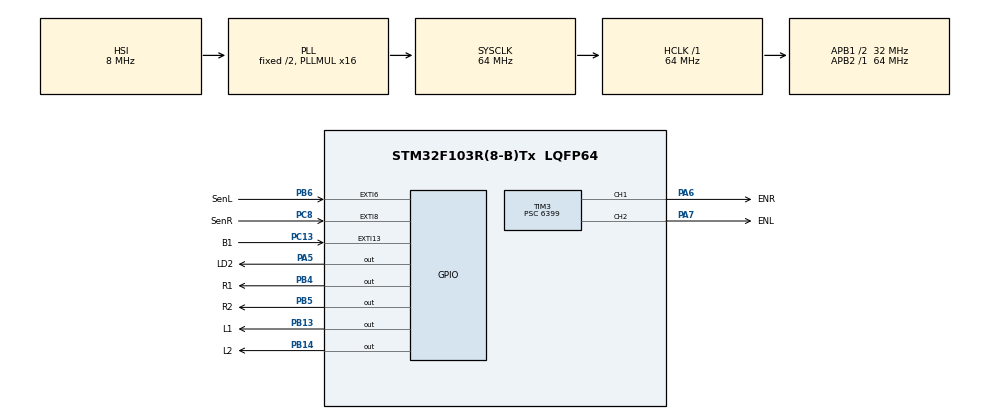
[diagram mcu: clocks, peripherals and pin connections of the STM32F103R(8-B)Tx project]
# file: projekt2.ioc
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Mcu.Family=STM32F1
Mcu.Name=STM32F103R(8-B)Tx
Mcu.Package=LQFP64
NVIC.EXTI15_10_IRQn=true\:9\:0\:true\:false\:true\:true\:true
NVIC.EXTI9_5_IRQn=true\:12\:0\:true\:false\:true\:true\:true
NVIC.PriorityGroup=NVIC_PRIORITYGROUP_4
NVIC.TIM3_IRQn=true\:10\:0\:true\:false\:true\:true\:true
PA5.GPIO_Label=LD2
PA5.Signal=GPIO_Output
PA6.GPIO_Label=ENR
PA6.Signal=S_TIM3_CH1
PA7.GPIO_Label=ENL
PA7.Signal=S_TIM3_CH2
PB13.GPIO_Label=L1
PB13.Signal=GPIO_Output
PB14.GPIO_Label=L2
PB14.Signal=GPIO_Output
PB4.GPIO_Label=R1
PB4.Signal=GPIO_Output
PB5.GPIO_Label=R2
PB5.Signal=GPIO_Output
PB6.GPIO_Label=SenL
PB6.GPIO_ModeDefaultEXTI=GPIO_MODE_IT_RISING_FALLING
PB6.Signal=GPXTI6
PC13-TAMPER-RTC.GPIO_Label=B1
PC13-TAMPER-RTC.Signal=GPXTI13
PC8.GPIO_Label=SenR
PC8.GPIO_ModeDefaultEXTI=GPIO_MODE_IT_RISING_FALLING
PC8.Signal=GPXTI8
ProjectManager.HeapSize=0x200
ProjectManager.StackSize=0x400
ProjectManager.TargetToolchain=STM32CubeIDE
RCC.AHBFreq_Value=64000000
RCC.APB1CLKDivider=RCC_HCLK_DIV2
RCC.APB1Freq_Value=32000000
RCC.APB1TimFreq_Value=64000000
RCC.APB2Freq_Value=64000000
RCC.APB2TimFreq_Value=64000000
RCC.HCLKFreq_Value=64000000
RCC.PLLMUL=RCC_PLL_MUL16
RCC.RTCClockSelection=RCC_RTCCLKSOURCE_LSE
RCC.SYSCLKFreq_VALUE=64000000
RCC.SYSCLKSource=RCC_SYSCLKSOURCE_PLLCLK
RCC.USBFreq_Value=64000000
SH.S_TIM3_CH1.0=TIM3_CH1,PWM Generation1 CH1
SH.S_TIM3_CH2.0=TIM3_CH2,PWM Generation2 CH2
TIM3.Channel-PWM\ Generation1\ CH1=TIM_CHANNEL_1
TIM3.Channel-PWM\ Generation2\ CH2=TIM_CHANNEL_2
TIM3.Period=99
TIM3.Prescaler=6399
TIM3.Pulse-PWM\ Generation1\ CH1=100
TIM3.Pulse-PWM\ Generation2\ CH2=100
VP_SYS_VS_ND.Mode=No_Debug
VP_TIM3_VS_ClockSourceINT.Mode=Internal
board=NUCLEO-F103RB

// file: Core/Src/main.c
/* USER CODE BEGIN Header */
/**
  ******************************************************************************
  * @file           : main.c
  * @brief          : Main program body
  ******************************************************************************
  * @attention
  *
  * Copyright (c) 2021 STMicroelectronics.
  * All rights reserved.
  *
  * This software is licensed under terms that can be found in the LICENSE file
  * in the root directory of this software component.
  * If no LICENSE file comes with this software, it is provided AS-IS.
  *
  ******************************************************************************
  */
/* USER CODE END Header */
#include "main.h"

/* USER CODE BEGIN Includes */
#include "stdbool.h"
/* USER CODE END Includes */

TIM_HandleTypeDef htim3;

/* USER CODE BEGIN PV */
int start = 0;
/* USER CODE END PV */

void SystemClock_Config(void);
static void MX_GPIO_Init(void);
static void MX_TIM3_Init(void);

/* USER CODE BEGIN 0 */

void rMotor(int dir, int vel){

	__HAL_TIM_SET_COMPARE(&htim3, TIM_CHANNEL_1, vel);
	//HAL_GPIO_WritePin(ENR_GPIO_Port, ENR_Pin, GPIO_PIN_SET);

	switch(dir){
	case 0: //stop
		  HAL_GPIO_WritePin(R1_GPIO_Port, R1_Pin, GPIO_PIN_SET);
		  HAL_GPIO_WritePin(R2_GPIO_Port, R2_Pin, GPIO_PIN_SET);
		  break;
	case 1 : //przod
		  HAL_GPIO_WritePin(R1_GPIO_Port, R1_Pin, GPIO_PIN_SET);
		  HAL_GPIO_WritePin(R2_GPIO_Port, R2_Pin, GPIO_PIN_RESET);
		  break;
	case 2: //tyl
		  HAL_GPIO_WritePin(R1_GPIO_Port, R1_Pin, GPIO_PIN_RESET);
		  HAL_GPIO_WritePin(R2_GPIO_Port, R2_Pin, GPIO_PIN_SET);
		  break;
	}
}
void lMotor(int dir, int vel){

	__HAL_TIM_SET_COMPARE(&htim3, TIM_CHANNEL_2, vel);
	//HAL_GPIO_WritePin(ENL_GPIO_Port, ENL_Pin, GPIO_PIN_SET);

	switch(dir){
	case 0: //stop
		  HAL_GPIO_WritePin(L1_GPIO_Port, L1_Pin, GPIO_PIN_SET);
		  HAL_GPIO_WritePin(L2_GPIO_Port, L2_Pin, GPIO_PIN_SET);
		  break;
	case 1: //przod
		  HAL_GPIO_WritePin(L1_GPIO_Port, L1_Pin, GPIO_PIN_SET);
		  HAL_GPIO_WritePin(L2_GPIO_Port, L2_Pin, GPIO_PIN_RESET);
		  break;
	case 2: //tyl
		  HAL_GPIO_WritePin(L1_GPIO_Port, L1_Pin, GPIO_PIN_RESET);
		  HAL_GPIO_WritePin(L2_GPIO_Port, L2_Pin, GPIO_PIN_SET);
		  break;
	}
}

void HAL_GPIO_EXTI_Callback(uint16_t GPIO_Pin)
{
	if(GPIO_Pin == SenR_Pin){
		if (start==1) {
			if(HAL_GPIO_ReadPin(SenL_GPIO_Port,SenL_Pin)==GPIO_PIN_RESET&&HAL_GPIO_ReadPin(SenR_GPIO_Port,SenR_Pin)==GPIO_PIN_RESET){
				lMotor(1,100);
				rMotor(0,100);
			}
			else if(HAL_GPIO_ReadPin(SenR_GPIO_Port,SenR_Pin)==GPIO_PIN_RESET){
				lMotor(1,70);
			}
			else{
				lMotor(1,100);
			}
		}
	}

	if (GPIO_Pin == SenL_Pin) {
		if (start==1) {
			if(HAL_GPIO_ReadPin(SenR_GPIO_Port,SenR_Pin)==GPIO_PIN_RESET&&HAL_GPIO_ReadPin(SenL_GPIO_Port,SenL_Pin)==GPIO_PIN_RESET){
				lMotor(0,100);
				rMotor(1,100);
			}
			if(HAL_GPIO_ReadPin(SenL_GPIO_Port,SenL_Pin)==GPIO_PIN_RESET){
				rMotor(1,70);
			}
			else{
				rMotor(1,100);
			}
		}
    }
	if (GPIO_Pin == B1_Pin){
		if(start==1){
			start=0;
			lMotor(0,100);
			rMotor(0,100);
		}
		else{
			start=1;
			lMotor(1,100);
			rMotor(1,100);
		}
	}
}

void HAL_TIM_PeriodElapsedCallback(TIM_HandleTypeDef *htim)
{
  /*if (htim == &htim3) {
	  HAL_GPIO_TogglePin(LD2_GPIO_Port, LD2_Pin);
  }*/
}

/* USER CODE END 0 */

int main(void)
{

  /* MCU Configuration--------------------------------------------------------*/

  /* Reset of all peripherals, Initializes the Flash interface and the Systick. */
  HAL_Init();

  /* Configure the system clock */
  SystemClock_Config();

  /* Initialize all configured peripherals */
  MX_GPIO_Init();
  MX_TIM3_Init();
  /* USER CODE BEGIN 2 */
  HAL_TIM_Base_Start_IT(&htim3);
  HAL_TIM_PWM_Start(&htim3, TIM_CHANNEL_1);
  HAL_TIM_PWM_Start(&htim3, TIM_CHANNEL_2);

  lMotor(0,100);
  rMotor(0,100);
  /* USER CODE END 2 */

  /* Infinite loop */
  /* USER CODE BEGIN WHILE */
  while (1)
  {
	  /*if(is_button_pressed()==false){
		  lMotor(1,100);
		  rMotor(1,100);
	  }
	  else{
		  lMotor(1,70);
		  rMotor(1,70);
	  }*/
	  /*if(HAL_GPIO_ReadPin(SenR_GPIO_Port, SenR_Pin)==GPIO_PIN_RESET&&HAL_GPIO_ReadPin(SenL_GPIO_Port, SenL_Pin)==GPIO_PIN_RESET){
		  rMotor(1,100);
		  lMotor(1,100);
	  }
	  else if(HAL_GPIO_ReadPin(SenR_GPIO_Port, SenR_Pin)==GPIO_PIN_SET&&HAL_GPIO_ReadPin(SenL_GPIO_Port, SenL_Pin)==GPIO_PIN_RESET){
		  rMotor(1,100);
		  lMotor(1,70);
	  }
	  else if(HAL_GPIO_ReadPin(SenR_GPIO_Port, SenR_Pin)==GPIO_PIN_RESET&&HAL_GPIO_ReadPin(SenL_GPIO_Port, SenL_Pin)==GPIO_PIN_SET){
		  rMotor(1,70);
		  lMotor(1,100);
	  }
	  else{
		  lMotor(2,100);
		  rMotor(1,100);
	  }*/

    /* USER CODE END WHILE */

  }
}

void SystemClock_Config(void)
{
  RCC_OscInitTypeDef RCC_OscInitStruct = {0};
  RCC_ClkInitTypeDef RCC_ClkInitStruct = {0};

  /** Initializes the RCC Oscillators according to the specified parameters
  * in the RCC_OscInitTypeDef structure.
  */
  RCC_OscInitStruct.OscillatorType = RCC_OSCILLATORTYPE_HSI;
  RCC_OscInitStruct.HSIState = RCC_HSI_ON;
  RCC_OscInitStruct.HSICalibrationValue = RCC_HSICALIBRATION_DEFAULT;
  RCC_OscInitStruct.PLL.PLLState = RCC_PLL_ON;
  RCC_OscInitStruct.PLL.PLLSource = RCC_PLLSOURCE_HSI_DIV2;
  RCC_OscInitStruct.PLL.PLLMUL = RCC_PLL_MUL16;
  if (HAL_RCC_OscConfig(&RCC_OscInitStruct) != HAL_OK)
  {
    Error_Handler();
  }
  /** Initializes the CPU, AHB and APB buses clocks
  */
  RCC_ClkInitStruct.ClockType = RCC_CLOCKTYPE_HCLK|RCC_CLOCKTYPE_SYSCLK
                              |RCC_CLOCKTYPE_PCLK1|RCC_CLOCKTYPE_PCLK2;
  RCC_ClkInitStruct.SYSCLKSource = RCC_SYSCLKSOURCE_PLLCLK;
  RCC_ClkInitStruct.AHBCLKDivider = RCC_SYSCLK_DIV1;
  RCC_ClkInitStruct.APB1CLKDivider = RCC_HCLK_DIV2;
  RCC_ClkInitStruct.APB2CLKDivider = RCC_HCLK_DIV1;

  if (HAL_RCC_ClockConfig(&RCC_ClkInitStruct, FLASH_LATENCY_2) != HAL_OK)
  {
    Error_Handler();
  }
}

static void MX_TIM3_Init(void)
{

  TIM_ClockConfigTypeDef sClockSourceConfig = {0};
  TIM_MasterConfigTypeDef sMasterConfig = {0};
  TIM_OC_InitTypeDef sConfigOC = {0};

  htim3.Instance = TIM3;
  htim3.Init.Prescaler = 6399;
  htim3.Init.CounterMode = TIM_COUNTERMODE_UP;
  htim3.Init.Period = 99;
  htim3.Init.ClockDivision = TIM_CLOCKDIVISION_DIV1;
  htim3.Init.AutoReloadPreload = TIM_AUTORELOAD_PRELOAD_DISABLE;
  if (HAL_TIM_Base_Init(&htim3) != HAL_OK)
  {
    Error_Handler();
  }
  sClockSourceConfig.ClockSource = TIM_CLOCKSOURCE_INTERNAL;
  if (HAL_TIM_ConfigClockSource(&htim3, &sClockSourceConfig) != HAL_OK)
  {
    Error_Handler();
  }
  if (HAL_TIM_PWM_Init(&htim3) != HAL_OK)
  {
    Error_Handler();
  }
  sMasterConfig.MasterOutputTrigger = TIM_TRGO_RESET;
  sMasterConfig.MasterSlaveMode = TIM_MASTERSLAVEMODE_DISABLE;
  if (HAL_TIMEx_MasterConfigSynchronization(&htim3, &sMasterConfig) != HAL_OK)
  {
    Error_Handler();
  }
  sConfigOC.OCMode = TIM_OCMODE_PWM1;
  sConfigOC.Pulse = 100;
  sConfigOC.OCPolarity = TIM_OCPOLARITY_HIGH;
  sConfigOC.OCFastMode = TIM_OCFAST_DISABLE;
  if (HAL_TIM_PWM_ConfigChannel(&htim3, &sConfigOC, TIM_CHANNEL_1) != HAL_OK)
  {
    Error_Handler();
  }
  if (HAL_TIM_PWM_ConfigChannel(&htim3, &sConfigOC, TIM_CHANNEL_2) != HAL_OK)
  {
    Error_Handler();
  }
  HAL_TIM_MspPostInit(&htim3);

}

static void MX_GPIO_Init(void)
{
  GPIO_InitTypeDef GPIO_InitStruct = {0};

  /* GPIO Ports Clock Enable */
  __HAL_RCC_GPIOC_CLK_ENABLE();
  __HAL_RCC_GPIOA_CLK_ENABLE();
  __HAL_RCC_GPIOB_CLK_ENABLE();

  /*Configure GPIO pin Output Level */
  HAL_GPIO_WritePin(LD2_GPIO_Port, LD2_Pin, GPIO_PIN_RESET);

  /*Configure GPIO pin Output Level */
  HAL_GPIO_WritePin(GPIOB, L1_Pin|L2_Pin|R1_Pin|R2_Pin, GPIO_PIN_RESET);

  /*Configure GPIO pin : B1_Pin */
  GPIO_InitStruct.Pin = B1_Pin;
  GPIO_InitStruct.Mode = GPIO_MODE_IT_RISING;
  GPIO_InitStruct.Pull = GPIO_NOPULL;
  HAL_GPIO_Init(B1_GPIO_Port, &GPIO_InitStruct);

  /*Configure GPIO pin : LD2_Pin */
  GPIO_InitStruct.Pin = LD2_Pin;
  GPIO_InitStruct.Mode = GPIO_MODE_OUTPUT_PP;
  GPIO_InitStruct.Pull = GPIO_NOPULL;
  GPIO_InitStruct.Speed = GPIO_SPEED_FREQ_LOW;
  HAL_GPIO_Init(LD2_GPIO_Port, &GPIO_InitStruct);

  /*Configure GPIO pins : L1_Pin L2_Pin R1_Pin R2_Pin */
  GPIO_InitStruct.Pin = L1_Pin|L2_Pin|R1_Pin|R2_Pin;
  GPIO_InitStruct.Mode = GPIO_MODE_OUTPUT_PP;
  GPIO_InitStruct.Pull = GPIO_NOPULL;
  GPIO_InitStruct.Speed = GPIO_SPEED_FREQ_LOW;
  HAL_GPIO_Init(GPIOB, &GPIO_InitStruct);

  /*Configure GPIO pin : SenR_Pin */
  GPIO_InitStruct.Pin = SenR_Pin;
  GPIO_InitStruct.Mode = GPIO_MODE_IT_RISING_FALLING;
  GPIO_InitStruct.Pull = GPIO_NOPULL;
  HAL_GPIO_Init(SenR_GPIO_Port, &GPIO_InitStruct);

  /*Configure GPIO pin : SenL_Pin */
  GPIO_InitStruct.Pin = SenL_Pin;
  GPIO_InitStruct.Mode = GPIO_MODE_IT_RISING_FALLING;
  GPIO_InitStruct.Pull = GPIO_NOPULL;
  HAL_GPIO_Init(SenL_GPIO_Port, &GPIO_InitStruct);

  /* EXTI interrupt init*/
  HAL_NVIC_SetPriority(EXTI9_5_IRQn, 12, 0);
  HAL_NVIC_EnableIRQ(EXTI9_5_IRQn);

  HAL_NVIC_SetPriority(EXTI15_10_IRQn, 9, 0);
  HAL_NVIC_EnableIRQ(EXTI15_10_IRQn);

}

void Error_Handler(void)
{
  __disable_irq();
  while (1)
  {
  }
}
